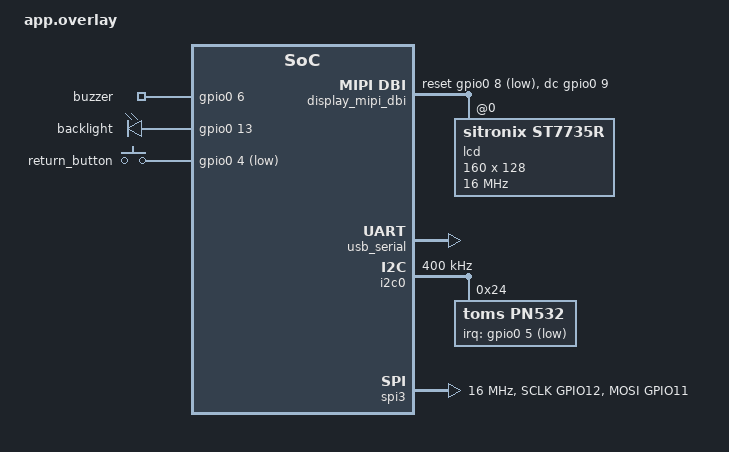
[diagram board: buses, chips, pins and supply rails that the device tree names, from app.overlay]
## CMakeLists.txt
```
cmake_minimum_required(VERSION 3.20.0)
find_package(Zephyr REQUIRED HINTS $ENV{ZEPHYR_BASE})
project(return_machine LANGUAGES C)

# Portable core shared with the host-side unit tests (firmware/lib/toms_core).
set(TOMS_CORE ${CMAKE_CURRENT_LIST_DIR}/../lib/toms_core)

target_sources(app PRIVATE
  src/main.c
  src/reset_reason.c
  src/pn532.c
  src/buzzer.c
  src/button.c
  src/display_test.c
  src/trial.c
  src/readstore.c
  src/battery.c
  src/ble/svc.c
  src/ble/ota.c
  src/ota_ui.c
  ${TOMS_CORE}/src/crc16.c
  ${TOMS_CORE}/src/codec.c
  ${TOMS_CORE}/src/state_table.c
  ${TOMS_CORE}/src/ring.c
  ${TOMS_CORE}/src/clock.c
  ${TOMS_CORE}/src/guard.c
  ${TOMS_CORE}/src/reset.c
  ${TOMS_CORE}/src/ota.c
  ${TOMS_CORE}/src/sha256.c
  ${TOMS_CORE}/src/sig.c
  ${TOMS_CORE}/src/readlog.c
  ${TOMS_CORE}/src/late.c
  ${TOMS_CORE}/src/pairing.c
  ${TOMS_CORE}/src/bondclr.c
  ${TOMS_CORE}/src/authz.c
  ${TOMS_CORE}/src/keyring.c
  ${TOMS_CORE}/src/wire.c
)

target_include_directories(app PRIVATE
  src
  ${TOMS_CORE}/include
)
```

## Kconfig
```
# TOMS Return Machine — application options

mainmenu "TOMS Return Machine"

menu "TOMS Return Machine"

config TOMS_BACKLIGHT_ACTIVE_HIGH
	bool "Backlight is on when GPIO13 is high"
	default n
	help
		The built board uses a PNP (2N3906) high-side switch: base low =
		backlight on, so GPIO13 low is "on". The Fritzing sketch still
		shows an NPN; enable this only for that wiring.

config TOMS_ALARM_TIMEOUT_S
	int "Seconds before an unpaid alarm silences itself (0 = hold until cleared)"
	default 0
	range 0 600
	help
		0 holds the alarm until the phone clears it (diag command 05 00) or the button is
		pressed. The alarm lives in the buzzer and display state, so a BLE reconnect neither
		loses nor repeats it.

config TOMS_PAIR_WINDOW_S
	int "Seconds the pairing window stays open after a button-held power-up"
	default 60
	range 10 300
	help
		A new Bluetooth bond is only accepted while this window is open. It opens when the button
		is held at power-up and shows PAIRING on the LCD. An existing bond reconnects at any time.

config TOMS_AUTH_LEVEL
	int "Link security the diag commands 00, 05, 06, 07 and 08 need (3 or 4)"
	default 4 if BT_SMP_SC_ONLY
	default 3
	range 3 4
	help
		3 = authenticated pairing (numeric comparison or passkey) with encryption.
		4 = the same with LE Secure Connections and a 128-bit key. The stack only reports 4 when
		Secure Connections Only mode is on (CONFIG_BT_SMP_SC_ONLY), which is why the default
		follows it. A link that is only encrypted (level 2, Just Works) never passes.

config TOMS_PAID_TIMEOUT_MS
	int "Paid-check timeout in milliseconds (brief allows 1000-2000)"
	default 1500
	range 1000 2000

config TOMS_HEARTBEAT_INTERVAL_S
	int "Heartbeat interval in seconds"
	default 10
	range 1 120

config TOMS_RING_CAPACITY
	int "Offline card-read ring capacity (entries)"
	default 128

config TOMS_STATE_TABLE_CAPACITY
	int "Cached card state table capacity (entries)"
	default 64

config TOMS_DEV_MODE
	bool "Development mode (unbonded centrals accepted, dev key)"
	default n
	help
		Never enable in a field build. Exists only so the spike and bench
		tests can run before enrollment is designed.

config TOMS_BUILD_TAG
	string "Name printed at boot to tell images apart"
	default "dev"
	help
		Shown in the boot log and by the OTA tests ("good-1", "bad-crash", ...).

config TOMS_WATCHDOG_TIMEOUT_MS
	int "Watchdog timeout in milliseconds"
	default 8000
	range 2000 60000
	help
		The watchdog resets the SoC unless the NFC, display and main tasks all show
		progress within this time. Must be long enough for a PN532 init retry (5 s).

config TOMS_SELFTEST_GOOD_CHECKS
	int "Healthy checks in a row before a trial image confirms itself"
	default 5
	range 1 100
	help
		A check runs every second. 5 means 5 s of Bluetooth up, display up and every
		monitored task running before the image is confirmed.

config TOMS_SELFTEST_DEADLINE_MS
	int "Self-test deadline in milliseconds"
	default 30000
	range 5000 120000
	help
		If a trial image is not healthy by then, it resets so the old image comes back.

choice TOMS_TRIAL_FAULT
	prompt "Bench fault injection for the OTA revert test (NEVER in a real build)"
	default TOMS_TRIAL_FAULT_NONE

config TOMS_TRIAL_FAULT_NONE
	bool "None"

config TOMS_TRIAL_FAULT_CRASH
	bool "Crash a trial image at boot (null write)"

config TOMS_TRIAL_FAULT_HANG
	bool "Hang a trial image at boot with the watchdog armed and unfed"

config TOMS_TRIAL_FAULT_NO_CONFIRM
	bool "Trial image runs fine but never confirms itself"

config TOMS_TRIAL_FAULT_SELFTEST_FAIL
	bool "Trial image runs but its self-test always fails"

endchoice

endmenu

# An app-level Kconfig is the root of the Kconfig universe, so the Zephyr
# core must be sourced from here.
source "Kconfig.zephyr"
```

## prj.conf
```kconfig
# TOMS Return Machine — Zephyr app configuration
CONFIG_LOG=y
CONFIG_LOG_MODE_DEFERRED=y

# CONFIG_TOMS_DEV_MODE is off here: writes need an encrypted, bonded link and the bench
# commands (sim_card, diag 0x01-0x04) are absent. Bench builds turn it on with
# -DEXTRA_CONF_FILE=prj_dev.conf.

# k_thread_stack_space_get(), used by the display thread's alive line
CONFIG_INIT_STACKS=y
CONFIG_THREAD_STACK_INFO=y
CONFIG_THREAD_RUNTIME_STATS=n

CONFIG_GPIO=y
CONFIG_I2C=y
CONFIG_SPI=y
CONFIG_ADC=y
CONFIG_DISPLAY=y

CONFIG_FLASH=y
CONFIG_NVS=y

# BLE peripheral (see firmware/PROTOCOL.md)
CONFIG_BT=y
CONFIG_BT_PERIPHERAL=y
CONFIG_BT_SMP=y
CONFIG_BT_BONDABLE=y
CONFIG_BT_MAX_CONN=1
# One bond, and the application decides who may create it (pairing_accept: window + IO check).
CONFIG_BT_MAX_PAIRED=1
CONFIG_BT_SMP_APP_PAIRING_ACCEPT=y
# Secure Connections only, so the stack can report level 4. Phones that cannot do LE Secure
# Connections are refused. Set CONFIG_BT_SMP_SC_ONLY=n (and TOMS_AUTH_LEVEL=3) to allow legacy
# authenticated pairing instead.
CONFIG_BT_SMP_SC_ONLY=y
CONFIG_BT_DEVICE_NAME="TOMS-RM"
CONFIG_BT_BUF_ACL_TX_COUNT=12
CONFIG_BT_BUF_EVT_RX_COUNT=14
CONFIG_BT_L2CAP_TX_BUF_COUNT=10
CONFIG_BT_GATT_CLIENT=n

# High-speed BLE throughput tuning (MTU 247 yields 240-byte chunks instead of 58 bytes)
CONFIG_BT_L2CAP_TX_MTU=247
CONFIG_BT_BUF_ACL_RX_SIZE=251
CONFIG_BT_BUF_ACL_TX_SIZE=251

# Stack/heap tuning symbols (MAIN_STACK_SIZE, SYSTEM_WORKQUEUE_STACK_SIZE,
# HEAP_MEM_POOL_SIZE) are not visible in the v4.2 Kconfig universe for this
# board, and WDT_DISABLE_AT_BOOT needs the esp32 wdt driver enabled first —
# revisit both when the watchdog work lands (spike item 6) and on the bench.

# OTA trial boot (OTA_PLAN.md phase 2): confirm/revert, watchdog
CONFIG_WATCHDOG=y
CONFIG_IMG_MANAGER=y
CONFIG_FLASH_MAP=y
CONFIG_STREAM_FLASH=y
CONFIG_REBOOT=y
# Do not let the driver start the watchdog before trial_start() has configured it.
CONFIG_WDT_DISABLE_AT_BOOT=y

# OTA handlers run on the Bluetooth RX thread (ota.c): more than the 1200 B default
CONFIG_BT_RX_STACK_SIZE=2048

# Persist Bluetooth bonds in the storage partition (NVS). Without this the keys live in RAM
# and die at the OTA reboot, so the phone cannot reconnect with its stored key (phase 4 finding).
CONFIG_SETTINGS=y
CONFIG_SETTINGS_NVS=y
CONFIG_BT_SETTINGS=y
```

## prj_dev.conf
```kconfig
# Bench build only: unbonded writes allowed, sim_card and diag bench commands enabled.
CONFIG_TOMS_DEV_MODE=y
```

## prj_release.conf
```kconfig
# TOMS Return Machine — Production Release Configuration Overlay
# Use with: west build ... -- -DEXTRA_CONF_FILE=prj_release.conf

# Production mode: disable unauthenticated writes and mock card injection
CONFIG_TOMS_DEV_MODE=n
CONFIG_TOMS_UI_PASSENGER=y

# Enforce secure bonding and encryption for all BLE GATT write operations
# Unbonded centrals attempting to write will receive BT_ATT_ERR_AUTHENTICATION
CONFIG_BT_SMP=y
CONFIG_BT_BONDABLE=y
CONFIG_BT_SETTINGS=y
CONFIG_SETTINGS=y
CONFIG_SETTINGS_NVS=y
```

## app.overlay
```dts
/*
 * TOMS Return Machine — devicetree overlay
 *
 * Pins verified against the Fritzing netlist (firmware/HW_NOTES.md):
 *   PN532 I2C SDA GPIO2, SCL GPIO7, IRQ GPIO5 (RSTO unconnected)
 *   Button GPIO4 (10K pull-up + 100nF, active low)
 *   Buzzer GPIO6 (low-side NPN, high = tone on)
 *   LCD CS 10, MOSI 11, SCLK 12, DC 9, RST 8, backlight GPIO13
 *   Battery sense hook: GPIO1 (nothing wired yet)
 *
 * The board is the closest upstream definition (esp32s3_devkitc); every pin
 * above is set here, none is inherited from the devkit.
 */

#include <zephyr/dt-bindings/gpio/gpio.h>
#include <zephyr/dt-bindings/i2c/i2c.h>
#include <zephyr/dt-bindings/input/input-event-codes.h>
#include <zephyr/dt-bindings/pinctrl/esp-pinctrl-common.h>
#include <dt-bindings/pinctrl/esp32s3-pinctrl.h>
#include <zephyr/dt-bindings/pinctrl/esp32s3-gpio-sigmap.h>

/ {
	/* The Super Mini only exposes the native USB-C port, so the console and
	 * shell go there instead of the devkit's UART0 pins. */
	chosen {
		zephyr,console = &usb_serial;
		zephyr,shell-uart = &usb_serial;
	};

	leds {
		compatible = "gpio-leds";

		buzzer: buzzer {
			gpios = <&gpio0 6 GPIO_ACTIVE_HIGH>;
		};

		backlight: backlight {
			gpios = <&gpio0 13 GPIO_ACTIVE_HIGH>;
		};
	};

	buttons {
		compatible = "gpio-keys";

		return_button: button_0 {
			gpios = <&gpio0 4 (GPIO_ACTIVE_LOW | GPIO_PULL_UP)>;
			zephyr,code = <INPUT_KEY_0>;
		};
	};

	/* Battery sense hook: GPIO1 (ADC1_CH0). Nothing is wired yet — add the
	 * channel node together with the hardware divider (HW_NOTES.md). */

	display_mipi_dbi: mipi_dbi {
		compatible = "zephyr,mipi-dbi-spi";
	};
};

&usb_serial {
	status = "okay";
};

&uart0 {
	status = "disabled";
};

/* The pinctrl driver reads pins from child group nodes only. The board file
 * already defines i2c0_default and spim3_default with the devkit's pins, so
 * pinmux set on those nodes directly is ignored. These are new nodes that
 * the buses are pointed at below. */
&pinctrl {
	i2c0_toms: i2c0_toms {
		group1 {
			pinmux = <I2C0_SDA_GPIO2>, <I2C0_SCL_GPIO7>;
			bias-pull-up;
			drive-open-drain;
			output-high;
		};
	};

	spim3_toms: spim3_toms {
		group1 {
			pinmux = <SPIM3_SCLK_GPIO12>;
		};
		group2 {
			pinmux = <SPIM3_MOSI_GPIO11>;
			output-low;
		};
	};
};

&i2c0 {
	status = "okay";
	clock-frequency = <I2C_BITRATE_FAST>;
	pinctrl-0 = <&i2c0_toms>;
	pinctrl-names = "default";

	pn532: pn532@24 {
		compatible = "toms,pn532";
		reg = <0x24>;
		irq-gpios = <&gpio0 5 GPIO_ACTIVE_LOW>;
	};
};

&spi3 {
	status = "okay";
	pinctrl-0 = <&spim3_toms>;
	pinctrl-names = "default";
	cs-gpios = <&gpio0 10 GPIO_ACTIVE_LOW>;
	clock-frequency = <16000000>;
};

/* ST7735S 160x128, write only (MISO unconnected per the netlist).
 * Offsets and inversion depend on the module variant; bench will confirm. */
&display_mipi_dbi {
	compatible = "zephyr,mipi-dbi-spi";
	status = "okay";
	dc-gpios = <&gpio0 9 GPIO_ACTIVE_HIGH>;
	reset-gpios = <&gpio0 8 GPIO_ACTIVE_LOW>;
	spi-dev = <&spi3>;
	write-only;
	#address-cells = <1>;
	#size-cells = <0>;

	lcd: st7735s@0 {
		compatible = "sitronix,st7735r";
		reg = <0>;
		mipi-max-frequency = <16000000>;
		mipi-mode = "MIPI_DBI_MODE_SPI_4WIRE";
		width = <160>;
		height = <128>;
		/* The ESP-IDF slave project (archive/esp32_slave) drove this panel with
		 * no window offset and inversion off. */
		x-offset = <0>;
		y-offset = <0>;
		madctl = <0x60>;  /* landscape, RGB order */
		colmod = <0x55>;  /* 16-bit pixels, matches the driver's 2 bytes per pixel */
		/* Starting gamma values for a red-tab style panel; tune on the bench. */
		gamctrp1 = [02 1c 07 12 37 32 29 2d 29 25 2B 39 00 01 03 10];
		gamctrn1 = [03 1d 07 06 2E 2C 29 2D 2E 2E 37 3F 00 00 02 10];
	};
};
```

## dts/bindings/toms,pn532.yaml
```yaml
description: PN532 NFC controller on I2C, reader mode (TOMS Return Machine)

compatible: "toms,pn532"

include: i2c-device.yaml

properties:
  irq-gpios:
    type: phandle-array
    required: true
    description: PN532 IRQ line, active low while a response is pending.
```

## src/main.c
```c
/* TOMS Return Machine — main
 *
 * Behavior per firmware/PROTOCOL.md. Drivers come up, BLE advertises, a card
 * read is notified to the phone and checked with a paid_check round trip,
 * with the cached state as the offline fallback. NVS ring persistence,
 * signing and the watchdog land with the spike (firmware/SPIKE.md) and M2. */
#include <zephyr/kernel.h>
#include <zephyr/drivers/gpio.h>
#include <zephyr/logging/log.h>
LOG_MODULE_REGISTER(main, LOG_LEVEL_INF);

#include "ble/svc.h"
#include "buzzer.h"
#include "button.h"
#include "display_test.h"
#include "pn532.h"
#include "battery.h"
#include "readstore.h"
#include "reset_reason.h"
#include "toms_pins.h"
#include "trial.h"

#include <toms/bondclr.h>
#include <toms/codec.h>
#include <toms/state_table.h>
#include <toms/wire.h>

#include <zephyr/sys/printk.h> /* snprintk */

#define NFC_STACK 4096
#define NFC_PRIO 7
static K_THREAD_STACK_DEFINE(nfc_stack, NFC_STACK);
static struct k_thread nfc_thread;

static const struct gpio_dt_spec backlight =
	GPIO_DT_SPEC_GET(TOMS_BACKLIGHT_NODE, gpios);

/* 0 ok, 3 init failed (PROTOCOL.md heartbeat nfc_status). */
static atomic_t nfc_status = ATOMIC_INIT(3);
static uint8_t reset_reason;
static int display_rc = -1;
static int ble_rc = -1;

/* Read de-duplication and slot presence tracking */
enum card_presence {
	PRESENCE_EMPTY = 0,
	PRESENCE_SEATED = 1,
};

static enum card_presence slot_presence = PRESENCE_EMPTY;
static uint8_t seated_uid[TOMS_UID_MAX];
static uint8_t seated_uid_len;
static int64_t last_seen_ms;
static int64_t card_removed_ms;
static uint8_t last_removed_uid[TOMS_UID_MAX];
static uint8_t last_removed_len;

static void log_uid(const char *what, const uint8_t *uid, uint8_t len)
{
	char hex[3 * TOMS_UID_MAX + 1];
	for (uint8_t i = 0; i < len; i++) {
		snprintk(&hex[i * 3], 4, "%02X ", uid[i]);
	}
	hex[len * 3 - 1] = '\0';
	LOG_INF("%s UID [%s] len %u", what, hex, len);
}

/* Tone for the phone's paid_reply. */
static uint8_t tone_for_verdict(uint8_t verdict)
{
	switch (verdict) {
	case TOMS_VERDICT_OK:
		return TOMS_TONE_OK;
	case TOMS_VERDICT_UNPAID:
		return TOMS_TONE_UNPAID;
	case TOMS_VERDICT_UNKNOWN:
		return TOMS_TONE_UNKNOWN;
	case TOMS_VERDICT_ALREADY_RETURNED:
		return TOMS_TONE_DUPLICATE;
	default:
		return TOMS_TONE_UNVERIFIED;
	}
}

#define ALARM_MS (CONFIG_TOMS_ALARM_TIMEOUT_S * 1000u) /* 0 = until the phone or button clears */

static void play(uint8_t tone)
{
	struct toms_config_msg cfg;

	rm_ble_get_config(&cfg);
	if (cfg.tones_mask & BIT(tone)) {
		buzzer_play(tone);
	}
}

/* A real card from the PN532 and a simulated one from sim_card share this
 * path. The mutex keeps two sources from interleaving a paid check. */
static K_MUTEX_DEFINE(card_lock);

/* Wakes the flush thread: a read was stored, or a phone connected. */
static K_SEM_DEFINE(flush_wake, 0, 1);

/* How the paid check ended, as the phone is told in a v2 card_read. */
static uint8_t outcome_for(int check_rc)
{
	if (check_rc == 0) {
		return TOMS_OUTCOME_NORMAL;
	}
	if (check_rc == -ETIMEDOUT) {
		return TOMS_OUTCOME_UNVERIFIED_TIMEOUT; /* sent, no reply in time */
	}
	return TOMS_OUTCOME_UNVERIFIED_NO_LINK; /* could not be sent: no phone, not subscribed, notify failed */
}

/* One live notify of a read in the given layout. 0 or the notify error. */
static int deliver_live(const struct toms_card_read_msg *msg, uint8_t wire)
{
	uint8_t frame[32];
	int len = toms_codec_encode_card_read_wire(frame, sizeof(frame), msg, wire);

	if (len < 0) {
		LOG_ERR("card_read encode failed (%d)", len);
		return len;
	}
	return rm_ble_notify_card_read(frame, (size_t)len);
}

static void on_read(const uint8_t *uid, uint8_t uid_len, uint8_t atype)
{
	k_mutex_lock(&card_lock, K_FOREVER);

	uint8_t status = rm_ble_state_lookup(uid, uid_len);
	log_uid("card read", uid, uid_len);
	LOG_INF("type %u, cached state %u", atype, status);

	int32_t seq = readstore_take_seq();
	struct toms_card_read_msg msg = {
		.read_seq = seq > 0 ? (uint32_t)seq : 0,
		.timestamp = rm_ble_epoch(),
		.boot_ms = (uint32_t)k_uptime_get(),
		.uid_len = uid_len,
		.atype = atype,
		.state_cached = status,
	};
	memcpy(msg.uid, uid, uid_len);

	/* Wire v1 (what the shipped phone parses): the read goes out before the paid check, exactly
	 * as before, and only when no older read is waiting so the phone sees them in read_seq
	 * order. The outcome is not on the v1 wire. */
	uint8_t wire = rm_ble_wire_version();
	bool delivered = false;

	if (seq > 0 && wire == TOMS_WIRE_V1 && readstore_unsent() == 0) {
		delivered = deliver_live(&msg, TOMS_WIRE_V1) == 0;
	}

	/* Ask the phone. */
	struct toms_config_msg cfg;
	uint8_t verdict;

	rm_ble_get_config(&cfg);
	int rc = rm_ble_paid_check(uid, uid_len, cfg.paid_timeout_ms, &verdict);

	msg.outcome = outcome_for(rc);
	if (rc == 0) {
		LOG_INF("paid_reply: verdict %u", verdict);
		if (verdict == TOMS_VERDICT_UNPAID) {
			buzzer_alarm_start(ALARM_MS); /* held until the phone or the button clears it */
		} else {
			play(tone_for_verdict(verdict));
		}
		display_set_verdict(verdict, uid, uid_len, atype);
	} else {
		/* No answer from the phone: the read is unverified. Never the full alarm, whatever
		 * the cached state says; the cache only goes to the phone in card_read. */
		LOG_INF("no paid_reply (%d): unverified, outcome %u (cached state %u)", rc,
			msg.outcome, status);
		play(TOMS_TONE_UNVERIFIED);
		display_set_verdict(0xFF, uid, uid_len, atype);
	}

	/* Wire v2: the read follows the check, so it can say how the check ended. If it cannot go
	 * out live (an older read is waiting, the notify fails, no phone), it is stored in flash
	 * with its outcome and the flush thread sends it, in read_seq order. */
	if (seq > 0 && !delivered && wire == TOMS_WIRE_V2 && readstore_unsent() == 0) {
		delivered = deliver_live(&msg, rm_ble_wire_version()) == 0;
	}
	if (delivered) {
		readstore_mark_sent(msg.read_seq);
	} else if (seq > 0) {
		int krc = readstore_keep(&msg);

		LOG_INF("read %u stored in flash (outcome %u, store %d), %u pending",
			(unsigned int)msg.read_seq, msg.outcome, krc,
			(unsigned int)readstore_pending());
		k_sem_give(&flush_wake);
	} else {
		LOG_ERR("no read_seq (%d): read not recorded", (int)seq);
	}
	k_mutex_unlock(&card_lock);
}

#if IS_ENABLED(CONFIG_TOMS_DEV_MODE)
/* sim_card arrives on the Bluetooth RX thread, which must not wait for a
 * paid_reply that itself arrives on that thread. Hand the UID to a worker. */
struct sim_item {
	uint8_t uid[TOMS_UID_MAX];
	uint8_t uid_len;
};
K_MSGQ_DEFINE(sim_q, sizeof(struct sim_item), 4, 1);

static K_THREAD_STACK_DEFINE(sim_stack, 2048);
static struct k_thread sim_thread;

static void on_sim_card(const uint8_t *uid, uint8_t uid_len)
{
	struct sim_item it = {.uid_len = uid_len};

	memcpy(it.uid, uid, uid_len);
	if (k_msgq_put(&sim_q, &it, K_NO_WAIT) != 0) {
		LOG_WRN("sim_card dropped: queue full");
	}
}

static void sim_loop(void *a, void *b, void *c)
{
	ARG_UNUSED(a);
	ARG_UNUSED(b);
	ARG_UNUSED(c);

	for (;;) {
		struct sim_item it;

		k_msgq_get(&sim_q, &it, K_FOREVER);
		LOG_INF("simulated card");
		on_read(it.uid, it.uid_len, TOMS_ATYPE_TYPE2);
	}
}
#endif

/* Sends stored reads to the phone, oldest first, whenever it is connected and subscribed. A read
 * stays in flash until the phone acks it (rm "ack" kind 2), so a drop in the middle loses
 * nothing: the next connection offers everything not yet acked again. */
#define FLUSH_STACK 3072
#define FLUSH_PRIO 8
static K_THREAD_STACK_DEFINE(flush_stack, FLUSH_STACK);
static struct k_thread flush_thread;

static void flush_loop(void *a, void *b, void *c)
{
	ARG_UNUSED(a);
	ARG_UNUSED(b);
	ARG_UNUSED(c);
	bool was_up = false;

	for (;;) {
		(void)k_sem_take(&flush_wake, K_MSEC(1000));
		bool up = rm_ble_card_subscribed();

		if (up && !was_up) {
			readstore_rewind(); /* new link: whatever is not acked goes out again */
		}
		was_up = up;

		while (up) {
			uint8_t fr[32];
			uint32_t seq;
			uint8_t oc = TOMS_OUTCOME_NORMAL;

			k_mutex_lock(&card_lock, K_FOREVER);
			int n = readstore_next_unsent(fr, sizeof(fr), &seq, &oc);

			/* Stored frames are v1; this connection's layout is applied when sending. */
			if (n > 0) {
				n = toms_codec_card_read_to_wire(fr, sizeof(fr), (size_t)n, oc,
								 rm_ble_wire_version());
			}
			if (n > 0 && rm_ble_notify_card_read(fr, (size_t)n) == 0) {
				readstore_mark_sent(seq);
				k_mutex_unlock(&card_lock);
				k_sleep(K_MSEC(30)); /* leave room for the paid_check traffic */
				continue;
			}
			k_mutex_unlock(&card_lock);
			break;
		}
	}
}

static void nfc_loop(void *a, void *b, void *c)
{
	ARG_UNUSED(a);
	ARG_UNUSED(b);
	ARG_UNUSED(c);

	/* No RSTO is wired: after any bus failure the recovery is re-init. */
	for (;;) {
		trial_alive(TRIAL_TASK_NFC);
		if (pn532_init() != 0) {
			atomic_set(&nfc_status, 3);
			display_test_set_nfc_status(false);
			LOG_ERR("PN532 init failed; retry in 5 s");
			/* Sleep in short steps so the watchdog sees this task is alive. */
			for (int i = 0; i < 50; i++) {
				trial_alive(TRIAL_TASK_NFC);
				k_sleep(K_MSEC(100));
			}
			continue;
		}
		atomic_set(&nfc_status, 0);
		display_test_set_nfc_status(true);
		buzzer_play(TOMS_TONE_BOOT);

			for (;;) {
				struct pn532_target t;
				trial_alive(TRIAL_TASK_NFC);
				int rc = pn532_read_target(&t, K_MSEC(300));
				int64_t now = k_uptime_get();

				if (rc == 0) {
					last_seen_ms = now;

					/* If this exact card is already seated in the slot, ignore continuous re-reads */
					if (slot_presence == PRESENCE_SEATED &&
					    seated_uid_len == t.uid_len &&
					    memcmp(seated_uid, t.uid, t.uid_len) == 0) {
						/* Card is resting in the slot: no-op, suppress duplicates */
						k_sleep(K_MSEC(100));
						continue;
					}

					/* Card is newly detected in slot */
					slot_presence = PRESENCE_SEATED;
					memcpy(seated_uid, t.uid, t.uid_len);
					seated_uid_len = t.uid_len;

					/* Check if this card was recently removed within duplicate window (5.0s) */
					if (last_removed_len == t.uid_len &&
					    memcmp(last_removed_uid, t.uid, t.uid_len) == 0 &&
					    now - card_removed_ms < 5000) {
						LOG_INF("card re-inserted within 5s -> DUPLICATE");
						play(TOMS_TONE_DUPLICATE);
						display_set_verdict(TOMS_VERDICT_ALREADY_RETURNED, t.uid, t.uid_len, t.atype);
					} else {
						/* Fresh card insertion */
						on_read(t.uid, t.uid_len, t.atype);
					}
				} else if (rc == -ETIMEDOUT) {
					/* No card in RF field this round */
					if (slot_presence == PRESENCE_SEATED) {
						/* Check if card has been absent for > 400ms */
						if (now - last_seen_ms >= 400) {
							LOG_INF("card removed from slot");
							slot_presence = PRESENCE_EMPTY;
							card_removed_ms = now;
							memcpy(last_removed_uid, seated_uid, seated_uid_len);
							last_removed_len = seated_uid_len;
							seated_uid_len = 0;
						}
					}
					k_sleep(K_MSEC(100));
					continue;
				} else {
					LOG_WRN("PN532 read error (%d); re-init", rc);
					slot_presence = PRESENCE_EMPTY;
					seated_uid_len = 0;
					break;
				}
			}
	}
}

static void send_heartbeat(void)
{
	struct rm_ble_status st;
	rm_ble_get_status(&st);

	struct toms_heartbeat_msg msg = {
		.uptime_s = (uint32_t)(k_uptime_get() / 1000),
		.battery_pct = 0xFF,
		.battery_mv = 0,
		.nfc_status = (uint8_t)atomic_get(&nfc_status),
		.state_version = st.state_version,
		.buffered_reads = (uint16_t)readstore_pending(),
		.dropped_reads = toms_u16_sat(readstore_dropped()),
		.late_replies = rm_ble_late_replies(),
		.reset_reason = reset_reason,
	};
	battery_read(&msg.battery_pct, &msg.battery_mv);

	uint8_t frame[24];
	int len = toms_codec_encode_heartbeat_wire(frame, sizeof(frame), &msg, rm_ble_wire_version());
	if (len < 0) {
		LOG_ERR("heartbeat encode failed (%d)", len);
		return;
	}
	int rc = rm_ble_notify_heartbeat(frame, (size_t)len);
	if (rc != 0 && rc != -ENOTCONN) {
		LOG_WRN("heartbeat notify failed (%d)", rc);
	}
}

/* Set while the 5 s hold is being counted. A bounce of the held button must not run the normal button
 * actions (long-press diagnostic mode, pairing confirm) in the middle of it. */
static atomic_t bondclr_counting = ATOMIC_INIT(0);

static uint16_t btn_press_count;

static void on_button(void)
{
	if (atomic_get(&bondclr_counting) != 0) {
		return; /* the power-up hold is being counted; a bounce is not a press */
	}
	btn_press_count++;
	LOG_INF("button pressed (#%u)", (unsigned int)btn_press_count);
	if (buzzer_is_alarming() || display_is_alarming()) {
		LOG_INF("button pressed: silencing unpaid alarm");
		buzzer_alarm_stop();
		display_clear_alarm();
		display_test_record_button_press(btn_press_count);
		return;
	}
	buzzer_play(TOMS_TONE_OK);
	display_test_record_button_press(btn_press_count);
	display_test_button();

	uint8_t ev[4] = { 0x81, (uint8_t)(btn_press_count & 0xFF), (uint8_t)(btn_press_count >> 8), 0x01 };
	rm_ble_notify_diag(ev, sizeof(ev));
}

/* Bond clear: hold the button at power-up (the pairing window opens), keep holding for 5 s, and the
 * one stored bond is forgotten; the signing key is kept. The hold is tracked by a thread that starts
 * at power-up, before the slow parts of boot, and it gives up for good on a release or a missed
 * sample (toms/bondclr.h). The bond itself can only be removed once Bluetooth is up. */
static K_SEM_DEFINE(ble_ready, 0, 1);
#define BONDCLR_STACK 1536
#define BONDCLR_PRIO 6
static K_THREAD_STACK_DEFINE(bondclr_stack, BONDCLR_STACK);
static struct k_thread bondclr_thread;

static void bondclr_loop(void *a, void *b, void *c)
{
	ARG_UNUSED(a);
	ARG_UNUSED(b);
	ARG_UNUSED(c);

	struct toms_bondclr s;

	toms_bondclr_init(&s, (uint32_t)k_uptime_get(), true);
	atomic_set(&bondclr_counting, 1);
	while (toms_bondclr_active(&s)) {
		k_msleep(TOMS_BONDCLR_POLL_MS);
		if (toms_bondclr_tick(&s, (uint32_t)k_uptime_get(), button_pressed_now()) !=
		    TOMS_BONDCLR_FIRE) {
			continue;
		}
		atomic_set(&bondclr_counting, 0);
		LOG_WRN("button held %u s from power-up: clearing the bond", TOMS_BONDCLR_HOLD_MS / 1000u);
		if (k_sem_take(&ble_ready, K_SECONDS(10)) != 0) {
			LOG_ERR("Bluetooth is not up: the bond was NOT cleared");
			return;
		}
		int left = rm_ble_forget_bond();

		if (left != 0) {
			LOG_ERR("the bond was NOT cleared (%d)", left);
			return;
		}
		display_show_bond_cleared(TOMS_BONDCLR_SHOW_MS);
		buzzer_play(TOMS_TONE_OK);
		k_msleep(TOMS_BONDCLR_SHOW_MS);
		rm_ble_open_pairing(); /* a fresh window, counted from now */
		return;
	}
	atomic_set(&bondclr_counting, 0);
	LOG_INF("bond-clear hold ended before %u s: nothing cleared", TOMS_BONDCLR_HOLD_MS / 1000u);
}

int main(void)
{
	/* Pairing window: only if the button is held at power-up. Sampled first, before anything else
	 * can take time, and acted on once Bluetooth is up. */
	bool pairing_requested = button_is_held();

	if (pairing_requested) {
		k_thread_create(&bondclr_thread, bondclr_stack, BONDCLR_STACK, bondclr_loop, NULL, NULL,
				NULL, BONDCLR_PRIO, 0, K_NO_WAIT);
		k_thread_name_set(&bondclr_thread, "bondclr");
	}

	uint8_t rr = toms_reset_reason();
	reset_reason = rr;
	LOG_INF("TOMS Return Machine boot, reset: %s (%u)", toms_reset_reason_name(rr), rr);
	LOG_INF("reset cause raw 0x%02x: %s%s", (unsigned int)toms_reset_raw(),
		toms_reset_cause_name(toms_reset_raw()),
		toms_reset_is_watchdog(toms_reset_raw()) ? "  <-- WATCHDOG" : "");

	int rc = gpio_pin_configure_dt(&backlight, IS_ENABLED(CONFIG_TOMS_BACKLIGHT_ACTIVE_HIGH)
							      ? GPIO_OUTPUT_ACTIVE
							      : GPIO_OUTPUT_INACTIVE);
	if (rc == 0) {
		LOG_INF("backlight on (polarity: active-%s)",
			IS_ENABLED(CONFIG_TOMS_BACKLIGHT_ACTIVE_HIGH) ? "high" : "low");
	} else {
		LOG_ERR("backlight GPIO failed (%d)", rc);
	}

	int store_rc = readstore_init();

	if (store_rc != 0) {
		LOG_ERR("read store init failed (%d): reads cannot be buffered", store_rc);
	}

	display_rc = display_test_init();
	if (display_rc != 0) {
		LOG_ERR("display test init failed (%d)", display_rc);
	}
	trial_report_display(display_rc == 0);

	buzzer_init();
	buzzer_play(TOMS_TONE_BOOT);
	button_init(on_button);

	ble_rc = rm_ble_start();
	if (ble_rc != 0) {
		LOG_ERR("BLE start failed (%d)", ble_rc);
	}
	trial_report_ble(ble_rc == 0);
	if (ble_rc == 0 && pairing_requested) {
		rm_ble_open_pairing();
	} else if (pairing_requested) {
		LOG_ERR("button held at power-up but Bluetooth did not start: no pairing window");
	}
	if (ble_rc == 0) {
		k_sem_give(&ble_ready); /* after the window is open: a bond clear then closes it, not the reverse */
	}

	k_thread_create(&flush_thread, flush_stack, FLUSH_STACK, flush_loop, NULL, NULL, NULL,
			FLUSH_PRIO, 0, K_NO_WAIT);
	k_thread_name_set(&flush_thread, "flush");

	k_thread_create(&nfc_thread, nfc_stack, NFC_STACK, nfc_loop, NULL, NULL, NULL, NFC_PRIO, 0,
			K_NO_WAIT);

#if IS_ENABLED(CONFIG_TOMS_DEV_MODE)
	rm_ble_set_sim_card_cb(on_sim_card);
	k_thread_create(&sim_thread, sim_stack, K_THREAD_STACK_SIZEOF(sim_stack), sim_loop, NULL,
			NULL, NULL, NFC_PRIO, 0, K_NO_WAIT);
#endif

	int trial_rc = trial_start();

	if (trial_rc != 0) {
		LOG_ERR("trial/watchdog start failed (%d)", trial_rc);
	}

	uint32_t beat = 0;
	for (;;) {
		struct toms_config_msg cfg;

		rm_ble_get_config(&cfg);
		/* Sleep in short steps so the watchdog sees this task is alive. */
		for (uint32_t s = 0; s < cfg.heartbeat_interval_s * 10u; s++) {
			trial_alive(TRIAL_TASK_MAIN);
			/* The BLE task counts as alive only while the controller answers an HCI command. */
			if (s % 5u == 0u && ble_rc == 0 && rm_ble_probe() == 0) {
				trial_alive(TRIAL_TASK_BLE);
			}
			k_sleep(K_MSEC(100));
		}
		beat++;
		LOG_INF("heartbeat #%u: uptime %u s, reset %s (raw 0x%02x), display init %d, "
			"ble start %d, image %s (%s)", beat, (uint32_t)(k_uptime_get() / 1000),
			toms_reset_reason_name(rr), (unsigned int)toms_reset_raw(), display_rc, ble_rc,
			CONFIG_TOMS_BUILD_TAG, trial_pending() ? "ON TRIAL" : "confirmed");
		send_heartbeat();
	}
	return 0;
}
```

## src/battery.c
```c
#include "battery.h"

/* GPIO1 is reserved for the battery sense divider, but the gauge choice and the divider are
 * still open (docs/return-machine-v2-parts-list), so there is nothing to measure yet. The
 * heartbeat already carries the two fields; this is the one place to fill in. */
void battery_read(uint8_t *pct, uint16_t *mv)
{
	*pct = BATTERY_PCT_UNKNOWN;
	*mv = 0;
}
```

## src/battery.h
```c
/* Battery measurement hook (GPIO1 reserved). Not implemented: reports "not measurable". */
#ifndef TOMS_BATTERY_H
#define TOMS_BATTERY_H

#include <stdint.h>

#define BATTERY_PCT_UNKNOWN 0xFFu

void battery_read(uint8_t *pct, uint16_t *mv);

#endif /* TOMS_BATTERY_H */
```

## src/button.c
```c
#include "button.h"

#include <zephyr/kernel.h>
#include <zephyr/drivers/gpio.h>
#include <zephyr/logging/log.h>
LOG_MODULE_REGISTER(button, LOG_LEVEL_INF);

#include "toms_pins.h"

#define DEBOUNCE_MS 25

static const struct gpio_dt_spec btn = GPIO_DT_SPEC_GET(TOMS_BUTTON_NODE, gpios);
static struct gpio_callback btn_cb;
static toms_button_cb_t user_cb;

static void debounce_run(struct k_work *work);

static K_WORK_DELAYABLE_DEFINE(debounce_work, debounce_run);

static void debounce_run(struct k_work *work)
{
	ARG_UNUSED(work);

	/* Logical level accounts for GPIO_ACTIVE_LOW: 1 = pressed. */
	if (gpio_pin_get_dt(&btn) == 1 && user_cb != NULL) {
		user_cb();
	}
}

static void edge_fired(const struct device *dev, struct gpio_callback *cb, uint32_t pins)
{
	ARG_UNUSED(dev);
	ARG_UNUSED(cb);
	ARG_UNUSED(pins);
	k_work_reschedule(&debounce_work, K_MSEC(DEBOUNCE_MS));
}

bool button_is_held(void)
{
	if (!gpio_is_ready_dt(&btn)) {
		return false;
	}
	if (gpio_pin_configure_dt(&btn, GPIO_INPUT) != 0) {
		return false;
	}
	/* The external pull-up and 100 nF need a moment after power-up; read twice, 30 ms apart, and
	 * only count it when both reads say pressed. */
	if (gpio_pin_get_dt(&btn) != 1) {
		return false;
	}
	k_msleep(30);
	return gpio_pin_get_dt(&btn) == 1;
}

bool button_pressed_now(void)
{
	return gpio_is_ready_dt(&btn) && gpio_pin_get_dt(&btn) == 1;
}

int button_init(toms_button_cb_t cb)
{
	if (!gpio_is_ready_dt(&btn)) {
		LOG_ERR("button GPIO not ready");
		return -ENODEV;
	}
	user_cb = cb;

	int rc = gpio_pin_configure_dt(&btn, GPIO_INPUT);
	if (rc != 0) {
		return rc;
	}
	rc = gpio_pin_interrupt_configure_dt(&btn, GPIO_INT_EDGE_TO_ACTIVE);
	if (rc != 0) {
		return rc;
	}
	gpio_init_callback(&btn_cb, edge_fired, BIT(btn.pin));
	return gpio_add_callback(btn.port, &btn_cb);
}
```

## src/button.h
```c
/* Debounced push button (GPIO4, active low, external 10K pull-up + 100 nF). */
#ifndef TOMS_BUTTON_H
#define TOMS_BUTTON_H

#include <stdbool.h>

typedef void (*toms_button_cb_t)(void);

/* Installs the GPIO interrupt. The callback runs in the system workqueue
 * after the 25 ms debounce window. Returns 0 on success. */
int button_init(toms_button_cb_t cb);

/* True while the button is held down (sampled now, no debounce). Used once at power-up to decide
 * whether to open the pairing window; returns false when the pin is not usable. */
bool button_is_held(void);

/* The pin right now, no delay and no debounce: true = pressed. For the bond-clear hold tracker,
 * which samples every 50 ms and does its own release filtering. False when the pin is unusable. */
bool button_pressed_now(void);

#endif /* TOMS_BUTTON_H */
```

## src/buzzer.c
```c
#include "buzzer.h"

#include <zephyr/kernel.h>
#include <zephyr/drivers/gpio.h>
#include <zephyr/logging/log.h>
LOG_MODULE_REGISTER(buzzer, LOG_LEVEL_INF);

#include "toms_pins.h"

static const struct gpio_dt_spec bz = GPIO_DT_SPEC_GET(TOMS_BUZZER_NODE, gpios);

struct tone_step {
	uint16_t on_ms;
	uint16_t off_ms;
};

/* {on, off} pairs, terminated by {0, 0} */
static const struct tone_step patterns[][8] = {
	[TOMS_TONE_BOOT] = { { 30, 60 }, { 30, 60 }, { 30, 0 }, { 0, 0 } },
	[TOMS_TONE_OK] = { { 80, 0 }, { 0, 0 } },
	[TOMS_TONE_UNPAID] = { { 200, 150 }, { 200, 150 }, { 200, 0 }, { 0, 0 } },
	[TOMS_TONE_UNKNOWN] = { { 300, 100 }, { 300, 0 }, { 0, 0 } },
	[TOMS_TONE_UNVERIFIED] = { { 60, 120 }, { 60, 0 }, { 0, 0 } },
	[TOMS_TONE_DUPLICATE] = { { 400, 0 }, { 0, 0 } },
};

static const struct tone_step *current;
static uint8_t step;
static bool sounding;
static bool alarm_active;
static int64_t alarm_deadline_ms;

static void step_run(struct k_work *work);

static K_WORK_DELAYABLE_DEFINE(step_work, step_run);

static void step_run(struct k_work *work)
{
	ARG_UNUSED(work);

	if (current == NULL) {
		return;
	}

	if (sounding) {
		/* On phase elapsed: silence, then move to the next step. */
		gpio_pin_set_dt(&bz, 0);
		sounding = false;

		if (alarm_active) {
			if (alarm_deadline_ms != 0 && k_uptime_get() >= alarm_deadline_ms) {
				LOG_INF("buzzer: unpaid alarm auto-timeout");
				alarm_active = false;
				current = NULL;
				return;
			}
			/* Unpaid continuous alarm pattern: 200ms ON, 150ms OFF */
			k_work_reschedule(&step_work, K_MSEC(150));
			return;
		}

		if (current[step + 1].on_ms == 0) {
			current = NULL;
			return;
		}
		uint16_t off = current[step].off_ms;
		step++;
		if (off == 0) {
			step_run(work); /* immediate next beep */
		} else {
			k_work_reschedule(&step_work, K_MSEC(off));
		}
		return;
	}

	gpio_pin_set_dt(&bz, 1);
	sounding = true;
	uint16_t on_time = alarm_active ? 200 : current[step].on_ms;
	k_work_reschedule(&step_work, K_MSEC(on_time));
}

void buzzer_play(enum toms_tone tone)
{
	if (tone >= ARRAY_SIZE(patterns)) {
		return;
	}
	if (alarm_active) {
		return; /* a held alarm is cleared by the phone or the button, never by another tone */
	}
	k_work_cancel_delayable(&step_work);
	alarm_active = false;
	gpio_pin_set_dt(&bz, 0);
	sounding = false;
	current = patterns[tone];
	step = 0;
	step_run(&step_work.work);
}

void buzzer_alarm_start(uint32_t timeout_ms)
{
	k_work_cancel_delayable(&step_work);
	gpio_pin_set_dt(&bz, 0);
	sounding = false;
	alarm_active = true;
	alarm_deadline_ms = timeout_ms > 0 ? k_uptime_get() + timeout_ms : 0; /* 0 = until cleared */
	current = patterns[TOMS_TONE_UNPAID];
	step = 0;
	LOG_INF("buzzer: continuous unpaid alarm started (timeout %u ms)", (unsigned int)timeout_ms);
	step_run(&step_work.work);
}

void buzzer_alarm_stop(void)
{
	if (alarm_active || sounding) {
		LOG_INF("buzzer: alarm stopped / silenced");
	}
	alarm_active = false;
	k_work_cancel_delayable(&step_work);
	gpio_pin_set_dt(&bz, 0);
	sounding = false;
	current = NULL;
}

bool buzzer_is_alarming(void)
{
	return alarm_active;
}

void buzzer_init(void)
{
	if (!gpio_is_ready_dt(&bz)) {
		LOG_ERR("buzzer GPIO not ready");
		return;
	}
	gpio_pin_configure_dt(&bz, GPIO_OUTPUT_INACTIVE);
}
```

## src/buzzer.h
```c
/* Buzzer patterns. The buzzer is a fixed-pitch active unit behind a low-side
 * NPN (GPIO6 high = on), so everything is expressed as beep patterns. */
#ifndef TOMS_BUZZER_H
#define TOMS_BUZZER_H

#include <stdbool.h>
#include <stdint.h>

enum toms_tone {
	TOMS_TONE_BOOT = 0,   /* rising 3 quick beeps: boot / reconnect */
	TOMS_TONE_OK = 1,     /* 1 x 80 ms: card read, paid */
	TOMS_TONE_UNPAID = 2, /* 3 x 200 ms: unpaid card returned */
	TOMS_TONE_UNKNOWN = 3,/* 2 x 300 ms: card not in the registry */
	TOMS_TONE_UNVERIFIED = 4, /* 2 x 60 ms: BLE down or reply late */
	TOMS_TONE_DUPLICATE = 5,  /* 1 x 400 ms: card read twice at exit */
};

void buzzer_init(void);
/* Non-blocking; playing a new tone replaces the one in progress. */
void buzzer_play(enum toms_tone tone);

/* Start continuous pulsing alarm (200ms on, 150ms off repeating).
 * Stops after timeout_ms, or when buzzer_alarm_stop() is called. timeout_ms == 0 holds the
 * alarm until it is stopped (phone command or button). */
void buzzer_alarm_start(uint32_t timeout_ms);

/* Stop any active continuous alarm immediately and silence the buzzer. */
void buzzer_alarm_stop(void);

/* Returns true if the continuous alarm is currently sounding. */
bool buzzer_is_alarming(void);

#endif /* TOMS_BUZZER_H */
```

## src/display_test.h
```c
/* Stand-alone display bench test. Needs no computer: it runs from power-up and
 * the Return button drives it.
 *
 *   power-up        pages advance by themselves every 3 s
 *   short press     next page (stops the automatic advance)
 *   hold > 0.8 s    flip the backlight GPIO (finds the polarity by eye)
 *
 * Pages: RED, GREEN, BLUE, WHITE, BLACK, colour bars, frame + corner markers,
 * gradient + checkerboard, info, last card UID. */
#ifndef TOMS_DISPLAY_TEST_H
#define TOMS_DISPLAY_TEST_H

#include <stdbool.h>
#include <stdint.h>

/* Brings up the panel and starts the test thread. Returns 0 on success. */
int display_test_init(void);

/* Called from the button callback: short press = next page, hold = flip
 * the backlight. Blocks up to the long-press window; the callback runs in
 * the system workqueue, which is fine for a bench build. */
void display_test_button(void);

/* Show the next page. */
void display_test_next(void);

/* Long press: flip the backlight GPIO and redraw. */
void display_test_backlight_toggle(void);

/* Stores the UID and card type, jumps to card page. Safe to call from any thread. */
void display_test_set_uid(const uint8_t *uid, uint8_t len, uint8_t atype);

/* Passenger deployment UI: displays the paid check verdict on the LCD:
 * TOMS_VERDICT_OK, TOMS_VERDICT_UNPAID, TOMS_VERDICT_UNKNOWN,
 * TOMS_VERDICT_ALREADY_RETURNED, or 0xFF (offline unverified). */
void display_set_verdict(uint8_t verdict, const uint8_t *uid, uint8_t len, uint8_t atype);

/* Immediately silences active unpaid alarm and returns display to idle. */
void display_clear_alarm(void);

/* Returns true if an unpaid fare alarm is currently active on screen. */
bool display_is_alarming(void);

/* Switches between normal passenger transit UI (false) and hardware diagnostic test mode (true). */
void display_set_diag_mode(bool active);

/* Shows BOND CLEARED for `ms` milliseconds, then the normal pages come back. Any thread. */
void display_show_bond_cleared(uint32_t ms);

/* Checks if diagnostic test mode is currently active. */
bool display_is_diag_mode(void);

/* Diagnostics tools status updates. */
void display_test_set_nfc_status(bool ready);
void display_test_record_button_press(uint16_t count);

#endif /* TOMS_DISPLAY_TEST_H */
```

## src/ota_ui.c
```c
#include "ota_ui.h"

#include <zephyr/kernel.h>
#include <zephyr/logging/log.h>
LOG_MODULE_REGISTER(ota_ui, LOG_LEVEL_INF);

static K_MUTEX_DEFINE(lock);
static struct ota_ui_state state;
static K_SEM_DEFINE(pair_btn, 0, 1);

void ota_ui_show_pair(uint32_t passkey)
{
	k_mutex_lock(&lock, K_FOREVER);
	state.kind = OTA_UI_PAIR;
	state.passkey = passkey;
	k_mutex_unlock(&lock);
}

void ota_ui_pair_wait_confirm(uint32_t wait_ms)
{
	k_sem_reset(&pair_btn);
	/* Any press between now and the wait is kept: the reset happens before
	 * the user could see the number on the LCD. */
	(void)k_sem_take(&pair_btn, K_MSEC(wait_ms));
}

bool ota_ui_pair_button(void)
{
	k_mutex_lock(&lock, K_FOREVER);
	bool mine = state.kind == OTA_UI_PAIR;
	k_mutex_unlock(&lock);
	if (mine) {
		k_sem_give(&pair_btn);
	}
	return mine;
}

void ota_ui_clear_pair(void)
{
	k_mutex_lock(&lock, K_FOREVER);
	if (state.kind == OTA_UI_PAIR) {
		state.kind = OTA_UI_NONE;
	}
	k_mutex_unlock(&lock);
}

void ota_ui_show_update(uint8_t phase, uint32_t done, uint32_t total)
{
	k_mutex_lock(&lock, K_FOREVER);
	state.kind = OTA_UI_UPDATE;
	state.phase = phase;
	state.done = done;
	state.total = total;
	k_mutex_unlock(&lock);
}

void ota_ui_clear_update(void)
{
	k_mutex_lock(&lock, K_FOREVER);
	if (state.kind == OTA_UI_UPDATE) {
		state.kind = OTA_UI_NONE;
	}
	k_mutex_unlock(&lock);
}

struct ota_ui_state ota_ui_get(void)
{
	k_mutex_lock(&lock, K_FOREVER);
	struct ota_ui_state out = state;
	k_mutex_unlock(&lock);
	return out;
}
```

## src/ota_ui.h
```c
/* What the LCD shows during Bluetooth pairing and a firmware update.
 *
 * The OTA worker and the pairing callbacks only RECORD state here; the display
 * thread is the only code that draws, and it renders this state instead of its
 * colour pages while an update or a pairing is in progress. */
#ifndef TOMS_OTA_UI_H
#define TOMS_OTA_UI_H

#include <stdbool.h>
#include <stdint.h>

enum ota_ui_kind {
	OTA_UI_NONE = 0,
	OTA_UI_PAIR,   /* show the pairing passkey */
	OTA_UI_UPDATE, /* show update progress */
};

enum ota_ui_phase {
	OTA_UI_ERASE = 0,
	OTA_UI_RECV,
	OTA_UI_VERIFY,
	OTA_UI_READY, /* installed, rebooting */
};

/* A snapshot for the display thread to draw. */
struct ota_ui_state {
	enum ota_ui_kind kind;
	uint32_t passkey;  /* PAIR: the 6-digit number */
	uint8_t phase;     /* UPDATE: ota_ui_phase */
	uint32_t done;     /* UPDATE: bytes written (RECV) or progress numerator */
	uint32_t total;    /* UPDATE: image size */
};

/* Pairing screen ------------------------------------------------------- */

/* Called on the Bluetooth RX thread: show this passkey on the LCD. */
void ota_ui_show_pair(uint32_t passkey);

/* Called on the Bluetooth RX thread from passkey_confirm: wait up to `wait_ms`
 * for the user to press the button (numeric comparison), then return. The
 * caller always confirms afterwards, so a timeout keeps unattended pairing
 * working. */
void ota_ui_pair_wait_confirm(uint32_t wait_ms);

/* The display thread's button handler: returns true if the press was consumed
 * as a pairing confirmation. */
bool ota_ui_pair_button(void);

/* Pairing finished one way or another: back to the normal pages. */
void ota_ui_clear_pair(void);

/* Update screen -------------------------------------------------------- */

/* Called on the OTA worker thread: show the progress screen. */
void ota_ui_show_update(uint8_t phase, uint32_t done, uint32_t total);

void ota_ui_clear_update(void);

/* The display thread takes a snapshot to draw. */
struct ota_ui_state ota_ui_get(void);

#endif /* TOMS_OTA_UI_H */
```

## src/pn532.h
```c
/* PN532 NFC controller driver — I2C, reader mode only.
 *
 * The old archive driver (archive/shared_lib/pn532) was NFC-DEP focused and
 * ESP-IDF specific; this one speaks plain ISO 14443-A reader commands on the
 * Zephyr I2C API. Framing follows the PN532 user manual: the I2C read starts
 * with a one-byte ready status, frames are 00 00 FF LEN LCS TFI ... DCS 00.
 * There is no hardware reset wired (RSTO unconnected) — recovery is
 * re-initialization (pn532_init) or a bus-level abort with the ACK frame. */
#ifndef TOMS_PN532_H
#define TOMS_PN532_H

#include <stdint.h>
#include <zephyr/kernel.h>

#include <toms/codec.h>

/* Antenna type classification: the wire codes live in toms/codec.h
 * (TOMS_ATYPE_*); these aliases keep the driver's vocabulary. */
#define PN532_ATYPE_OTHER TOMS_ATYPE_OTHER
#define PN532_ATYPE_TYPE2 TOMS_ATYPE_TYPE2
#define PN532_ATYPE_TYPE4 TOMS_ATYPE_TYPE4
#define PN532_ATYPE_CLASSIC TOMS_ATYPE_CLASSIC

struct pn532_target {
	uint8_t uid[10];
	uint8_t uid_len; /* 4, 7 or 10 */
	uint8_t atype;   /* PN532_ATYPE_* */
};

/* Bring the PN532 up: SAM configuration, RF retry limits, version check.
 * Returns 0 on success; call again to recover after bus errors. */
int pn532_init(void);

/* Filled with IC, firmware version, revision, support (response of 0x02). */
int pn532_get_firmware_version(uint8_t out[4]);

/* Release target tg (0 = all targets). Returns 0 on success. */
int pn532_in_release(uint8_t tg);

/* Poll once for one ISO 14443-A target (INLISTPASSIVETARGET, 106 kbps).
 * Returns 0 and fills `out` when a card was found, -ETIMEDOUT when the IRQ
 * stayed idle for `timeout`, -EIO on bus/protocol errors. */
int pn532_read_target(struct pn532_target *out, k_timeout_t timeout);

#endif /* TOMS_PN532_H */
```
